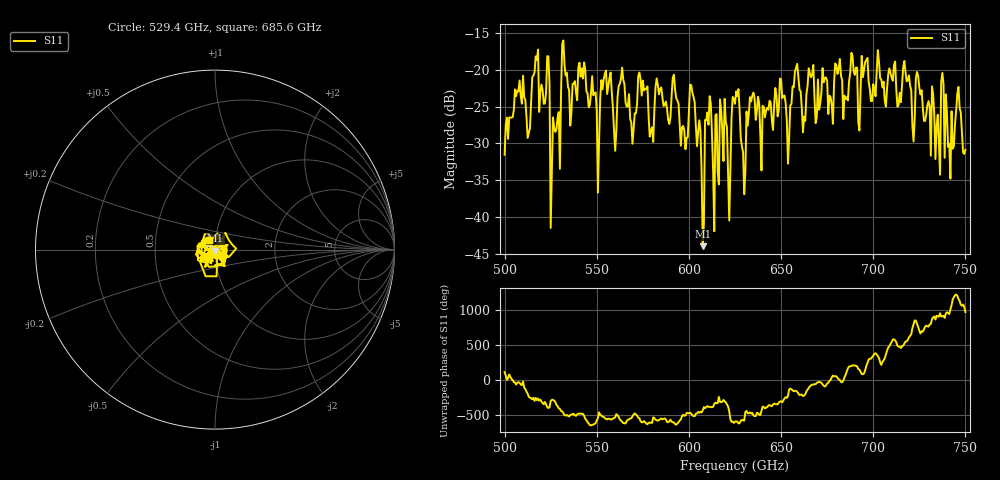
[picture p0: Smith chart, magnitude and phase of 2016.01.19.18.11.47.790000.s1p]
!Created with skrf (http://scikit-rf.org).
# GHz S RI R 50.0
!freq ReS11 ImS11
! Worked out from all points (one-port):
!   401 points, 500 GHz to 750 GHz, reference 50 ohm
!   lowest |S11| = -43.9 dB at 607.5 GHz (marker M1), VSWR 1.01, Z = 50.2 - j0.61 ohm
!   |S11| at or under -10 dB: start of sweep to end of sweep
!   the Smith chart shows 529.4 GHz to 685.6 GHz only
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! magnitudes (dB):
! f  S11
! 500 GHz  -31.5
! 506.9 GHz  -22.8
! 513.1 GHz  -28.6
! 516.9 GHz  -18.2
! 523.1 GHz  -18.2
! 526.2 GHz  -26.5
! 531.2 GHz  -16.5
! 542.5 GHz  -21.2
! 550.6 GHz  -36.6
! 562.5 GHz  -21.9
! 569.4 GHz  -30.0
! 573.8 GHz  -21.3
! 579.4 GHz  -28.3
! 593.8 GHz  -24.2
! 598.1 GHz  -30.8
! 601.9 GHz  -23.1
! 607.5 GHz  -43.9
! 610.6 GHz  -27.5
! 621.2 GHz  -34.2
! 625 GHz  -24.6
! 629.4 GHz  -31.2
! 634.4 GHz  -23.5
! 656.2 GHz  -22.3
! 687.5 GHz  -20.5
! 718.8 GHz  -21.5
! 735 GHz  -26.1
! 746.2 GHz  -22.3
! 750 GHz  -30.9
